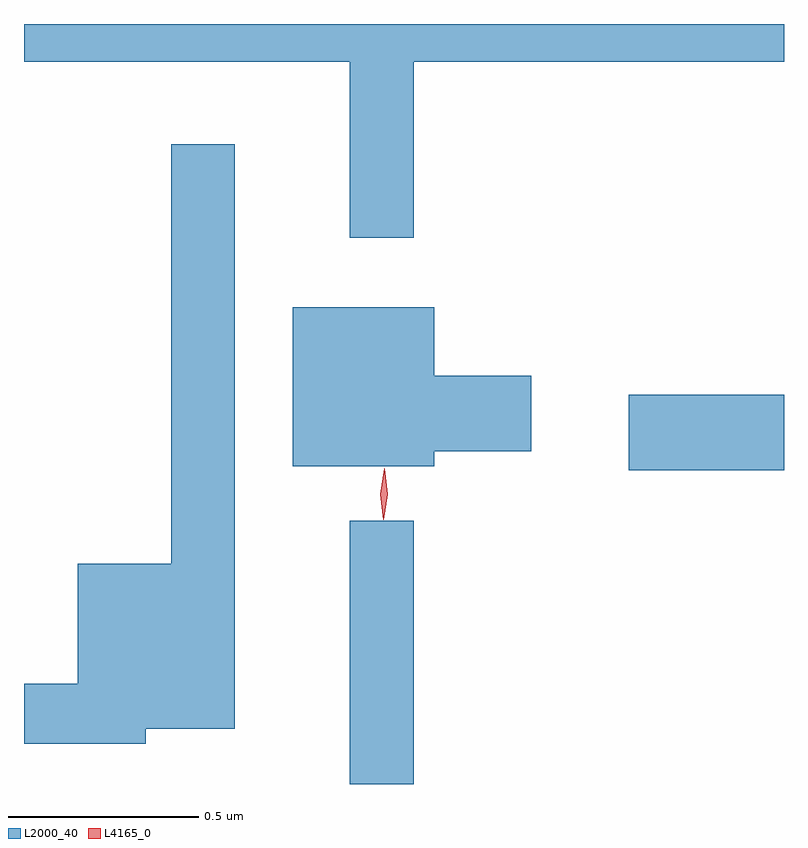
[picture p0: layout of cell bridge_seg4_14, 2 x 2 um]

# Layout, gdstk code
import gdstk
lib = gdstk.Library(unit=1e-6, precision=1e-09)
def R(c, l, rs):  # rectangles x0, y0, x1, y1
    for r in rs: c.add(gdstk.rectangle(r[:2], r[2:], *l))
def P(c, l, *ps):  # polygons
    for p in ps: c.add(gdstk.Polygon(p, *l))
L2000_40 = (2000, 40)
L4165_0 = (4165, 0)

bridge_seg4_14 = lib.new_cell('bridge_seg4_14')
R(bridge_seg4_14, L2000_40, [(1170.241,1266.195,1170.409,1266.888), (1170.976,1267.021,1171.384,1267.219)])
P(bridge_seg4_14, L2000_40, [(1170.409,1268.096),(1171.384,1268.096),(1171.384,1268.195),(1169.384,1268.195),(1169.384,1268.096),(1170.241,1268.096),(1170.241,1267.633),(1170.409,1267.633)],
  [(1169.704,1266.341),(1169.939,1266.341),(1169.939,1267.878),(1169.771,1267.878),(1169.771,1266.774),(1169.526,1266.774),(1169.526,1266.459),(1169.384,1266.459),(1169.384,1266.301),(1169.704,1266.301)],
  [(1170.464,1267.071),(1170.719,1267.071),(1170.719,1267.269),(1170.464,1267.269),(1170.464,1267.449),(1170.091,1267.449),(1170.091,1267.031),(1170.464,1267.031)])
P(bridge_seg4_14, L4165_0, [(1170.33,1266.89),(1170.33,1266.89),(1170.321,1266.958),(1170.332,1267.025),(1170.332,1267.026),(1170.333,1267.025),(1170.341,1266.957),(1170.331,1266.89)])

lib.write_gds('bridge_seg4_14.gds')
